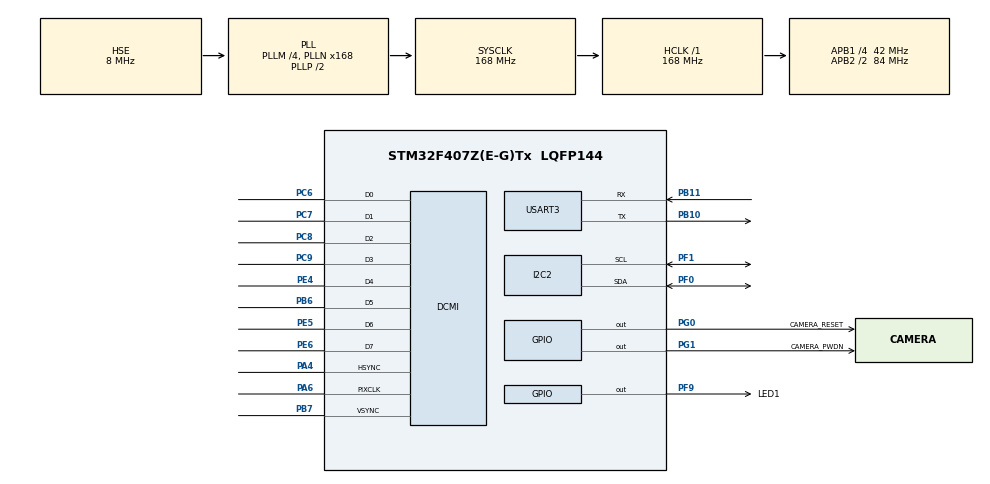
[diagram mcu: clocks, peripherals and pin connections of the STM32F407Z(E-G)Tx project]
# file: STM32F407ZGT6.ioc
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DCMI.JPEGMode=DCMI_JPEG_ENABLE
DCMI.PCKPolarity=DCMI_PCKPOLARITY_RISING
Dma.DCMI.0.Direction=DMA_PERIPH_TO_MEMORY
Dma.DCMI.0.FIFOMode=DMA_FIFOMODE_ENABLE
Dma.DCMI.0.FIFOThreshold=DMA_FIFO_THRESHOLD_FULL
Dma.DCMI.0.Instance=DMA2_Stream1
Dma.DCMI.0.MemBurst=DMA_MBURST_SINGLE
Dma.DCMI.0.MemDataAlignment=DMA_MDATAALIGN_BYTE
Dma.DCMI.0.MemInc=DMA_MINC_ENABLE
Dma.DCMI.0.Mode=DMA_CIRCULAR
Dma.DCMI.0.PeriphBurst=DMA_PBURST_SINGLE
Dma.DCMI.0.PeriphDataAlignment=DMA_PDATAALIGN_WORD
Dma.DCMI.0.PeriphInc=DMA_PINC_DISABLE
Dma.DCMI.0.Priority=DMA_PRIORITY_VERY_HIGH
Dma.Request0=DCMI
Dma.Request1=USART3_TX
Dma.USART3_TX.1.Direction=DMA_MEMORY_TO_PERIPH
Dma.USART3_TX.1.FIFOMode=DMA_FIFOMODE_ENABLE
Dma.USART3_TX.1.FIFOThreshold=DMA_FIFO_THRESHOLD_FULL
Dma.USART3_TX.1.Instance=DMA1_Stream3
Dma.USART3_TX.1.MemBurst=DMA_MBURST_SINGLE
Dma.USART3_TX.1.MemDataAlignment=DMA_MDATAALIGN_BYTE
Dma.USART3_TX.1.MemInc=DMA_MINC_ENABLE
Dma.USART3_TX.1.Mode=DMA_NORMAL
Dma.USART3_TX.1.PeriphBurst=DMA_PBURST_SINGLE
Dma.USART3_TX.1.PeriphDataAlignment=DMA_PDATAALIGN_BYTE
Dma.USART3_TX.1.PeriphInc=DMA_PINC_DISABLE
Dma.USART3_TX.1.Priority=DMA_PRIORITY_VERY_HIGH
Mcu.Family=STM32F4
Mcu.Name=STM32F407Z(E-G)Tx
Mcu.Package=LQFP144
NVIC.DCMI_IRQn=true\:0\:0\:false\:false\:true\:true\:true
NVIC.DMA1_Stream3_IRQn=true\:0\:0\:false\:false\:true\:false\:true
NVIC.DMA2_Stream1_IRQn=true\:0\:0\:false\:false\:true\:false\:true
NVIC.PriorityGroup=NVIC_PRIORITYGROUP_4
NVIC.USART3_IRQn=true\:0\:0\:false\:false\:true\:true\:true
PA13.Mode=Serial_Wire
PA13.Signal=SYS_JTMS-SWDIO
PA14.Mode=Serial_Wire
PA14.Signal=SYS_JTCK-SWCLK
PA4.GPIO_Speed=GPIO_SPEED_FREQ_VERY_HIGH
PA4.Mode=Slave_8_bits_External_Synchro
PA4.Signal=DCMI_HSYNC
PA6.GPIO_Speed=GPIO_SPEED_FREQ_VERY_HIGH
PA6.Mode=Slave_8_bits_External_Synchro
PA6.Signal=DCMI_PIXCLK
PB10.Mode=Asynchronous
PB10.Signal=USART3_TX
PB11.Mode=Asynchronous
PB11.Signal=USART3_RX
PB6.GPIO_Speed=GPIO_SPEED_FREQ_VERY_HIGH
PB6.Mode=Slave_8_bits_External_Synchro
PB6.Signal=DCMI_D5
PB7.GPIO_Speed=GPIO_SPEED_FREQ_VERY_HIGH
PB7.Mode=Slave_8_bits_External_Synchro
PB7.Signal=DCMI_VSYNC
PC14-OSC32_IN.Mode=LSE-External-Oscillator
PC14-OSC32_IN.Signal=RCC_OSC32_IN
PC15-OSC32_OUT.Mode=LSE-External-Oscillator
PC15-OSC32_OUT.Signal=RCC_OSC32_OUT
PC6.GPIO_Speed=GPIO_SPEED_FREQ_VERY_HIGH
PC6.Mode=Slave_8_bits_External_Synchro
PC6.Signal=DCMI_D0
PC7.GPIO_Speed=GPIO_SPEED_FREQ_VERY_HIGH
PC7.Mode=Slave_8_bits_External_Synchro
PC7.Signal=DCMI_D1
PC8.GPIO_Speed=GPIO_SPEED_FREQ_VERY_HIGH
PC8.Mode=Slave_8_bits_External_Synchro
PC8.Signal=DCMI_D2
PC9.GPIO_Speed=GPIO_SPEED_FREQ_VERY_HIGH
PC9.Mode=Slave_8_bits_External_Synchro
PC9.Signal=DCMI_D3
PE4.GPIO_Speed=GPIO_SPEED_FREQ_VERY_HIGH
PE4.Mode=Slave_8_bits_External_Synchro
PE4.Signal=DCMI_D4
PE5.GPIO_Speed=GPIO_SPEED_FREQ_VERY_HIGH
PE5.Mode=Slave_8_bits_External_Synchro
PE5.Signal=DCMI_D6
PE6.GPIO_Speed=GPIO_SPEED_FREQ_VERY_HIGH
PE6.Mode=Slave_8_bits_External_Synchro
PE6.Signal=DCMI_D7
PF0.GPIO_Pu=GPIO_PULLUP
PF0.Mode=I2C
PF0.Signal=I2C2_SDA
PF1.GPIO_Pu=GPIO_PULLUP
PF1.Mode=I2C
PF1.Signal=I2C2_SCL
PF9.GPIO_Label=LED1
PF9.Signal=GPIO_Output
PG0.GPIO_Label=CAMERA_RESET
PG0.Signal=GPIO_Output
PG1.GPIO_Label=CAMERA_PWDN
PG1.Signal=GPIO_Output
PH0-OSC_IN.Mode=HSE-External-Oscillator
PH0-OSC_IN.Signal=RCC_OSC_IN
PH1-OSC_OUT.Mode=HSE-External-Oscillator
PH1-OSC_OUT.Signal=RCC_OSC_OUT
ProjectManager.HeapSize=0x1000
ProjectManager.StackSize=0x1000
ProjectManager.TargetToolchain=MDK-ARM V5.32
RCC.48MHZClocksFreq_Value=112000000
RCC.AHBFreq_Value=168000000
RCC.APB1CLKDivider=RCC_HCLK_DIV4
RCC.APB1Freq_Value=42000000
RCC.APB1TimFreq_Value=84000000
RCC.APB2CLKDivider=RCC_HCLK_DIV2
RCC.APB2Freq_Value=84000000
RCC.APB2TimFreq_Value=168000000
RCC.CortexFreq_Value=168000000
RCC.HCLKFreq_Value=168000000
RCC.HSE_VALUE=8000000
RCC.HSI_VALUE=16000000
RCC.PLLM=4
RCC.PLLN=168
RCC.PLLQ=3
RCC.PLLSourceVirtual=RCC_PLLSOURCE_HSE
RCC.RCC_RTC_Clock_Source=RCC_RTCCLKSOURCE_LSE
RCC.RCC_RTC_Clock_SourceVirtual=RCC_RTCCLKSOURCE_LSE
RCC.SYSCLKFreq_VALUE=168000000
RCC.SYSCLKSource=RCC_SYSCLKSOURCE_PLLCLK
RCC.VCOOutputFreq_Value=336000000
TIM7.Period=10000
TIM7.Prescaler=83
USART3.VirtualMode=VM_ASYNC
VP_TIM7_VS_ClockSourceINT.Mode=Enable_Timer
board=custom

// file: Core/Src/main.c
/* USER CODE BEGIN Header */
/**
 ******************************************************************************
 * @file           : main.c
 * @brief          : Main program body
 ******************************************************************************
 * @attention
 *
 * Copyright (c) 2021 STMicroelectronics.
 * All rights reserved.
 *
 * This software is licensed under terms that can be found in the LICENSE file
 * in the root directory of this software component.
 * If no LICENSE file comes with this software, it is provided AS-IS.
 *
 ******************************************************************************
 */
/* USER CODE END Header */
#include "main.h"
#include "dcmi.h"
#include "dma.h"
#include "i2c.h"
#include "tim.h"
#include "usart.h"
#include "gpio.h"

/* USER CODE BEGIN Includes */
#include "ov2640.h"
#include <stdio.h>
#include <stdarg.h>
#include <string.h>

/* USER CODE END Includes */

/* USER CODE BEGIN PD */
#define DEBUG

/* USER CODE END PD */

/* USER CODE BEGIN PV */

#define RES160X120
// #define RES320X240
// #define RES640X480
// #define RES800x600
// #define RES1024x768
// #define RES1280x960
#ifdef RES320X240
enum imageResolution imgRes = RES_320X240;
uint8_t frameBuffer[RES_320X240] = {0};
#endif

#ifdef RES160X120
enum imageResolution imgRes = RES_160X120;
uint8_t frameBuffer[RES_160X120] = {0};
#endif

uint8_t mutex = 0;
uint16_t bufferPointer = 0;
uint8_t headerFound = 0;

uint8_t Tbuffer1[2] = {0xff, 0x01};
uint8_t Tbuffer2[2] = {0x12, 0x80};
uint8_t Tbuffer3[1] = {0x1c};
uint8_t RBuffer[1] = {0};

/* USER CODE END PV */

void SystemClock_Config(void);

int main(void)
{

  /* MCU Configuration--------------------------------------------------------*/

  /* Reset of all peripherals, Initializes the Flash interface and the Systick. */
  HAL_Init();

  /* Configure the system clock */
  SystemClock_Config();

  /* Initialize all configured peripherals */
  MX_GPIO_Init();
  MX_DMA_Init();
  MX_DCMI_Init();
  MX_USART3_UART_Init();
  MX_I2C2_Init();
  MX_TIM7_Init();
  /* USER CODE BEGIN 2 */

  // 等待�???�???
  uint8_t a[1];
  printf("Input a.\r\n");
  scanf("%c", a);
  if (a[0] == 'a')
    printf("Hello World!\r\n");

  // HAL_GPIO_WritePin(CAMERA_PWDN_GPIO_Port, CAMERA_PWDN_Pin, GPIO_PIN_RESET);
  // HAL_Delay(10);
  // HAL_GPIO_WritePin(CAMERA_RESET_GPIO_Port, CAMERA_RESET_Pin, GPIO_PIN_RESET);
  // HAL_Delay(10);
  // HAL_GPIO_WritePin(CAMERA_RESET_GPIO_Port, CAMERA_RESET_Pin, GPIO_PIN_SET);
  // HAL_Delay(10);

  // HAL_I2C_Master_Transmit(&hi2c2, 0xc0, Tbuffer1, 2, 100);
  // //SCCB_Write(0xff, 0x01);
  // HAL_Delay(10);

  // HAL_I2C_Master_Transmit(&hi2c2, 0xc0, Tbuffer2, 2, 100);
  // HAL_Delay(10);

  // OV2640_ResolutionOptions(imgRes);

  OV2640_Init(&hi2c2, &hdcmi);
  HAL_Delay(10);
  OV2640_ResolutionOptions(imgRes);
  HAL_Delay(10);

  HAL_I2C_Mem_Read(&hi2c2, 0x60, 0x0A, 1, RBuffer, 1, 100);
  printf("%x\r\n", RBuffer[0]);

  //  // 等待下一环节
  //	a[0] = 0;
  //  printf("Input b.\r\n");
  //  scanf("%c", a);
  //  if (a[0] == 'b')
  // OV2640_Init(&hi2c2, &hdcmi);
  // HAL_Delay(10);
  // OV2640_ResolutionOptions(imgRes);
  // HAL_Delay(10);
  mutex = 1;
  /* USER CODE END 2 */

  /* Infinite loop */
  while (1)
  {

    /* USER CODE BEGIN 3 */
    if (mutex == 1)
    {
      __HAL_DCMI_ENABLE_IT(&hdcmi, DCMI_IT_FRAME);
      memset(frameBuffer, 0, sizeof frameBuffer);
      OV2640_CaptureSnapshot((uint32_t)frameBuffer, imgRes);

      while (1)
      {
        if (headerFound == 0 && frameBuffer[bufferPointer] == 0xFF && frameBuffer[bufferPointer + 1] == 0xD8)
        {
          headerFound = 1;
#ifdef DEBUG
          printf("Found header of JPEG file \r\n");
#endif
        }
        if (headerFound == 1 && frameBuffer[bufferPointer] == 0xFF && frameBuffer[bufferPointer + 1] == 0xD9)
        {
          bufferPointer = bufferPointer + 2;
#ifdef DEBUG
          printf("Found EOF of JPEG file \r\n");
#endif
          headerFound = 0;
          break;
        }

        if (bufferPointer >= 65535)
        {
          //break;
					bufferPointer = 0;
					printf("Flag");
        }
        bufferPointer++;
      }
#ifdef DEBUG
      printf("Image size: %d bytes \r\n", bufferPointer);
#endif

      HAL_UART_Transmit_DMA(&huart3, frameBuffer, bufferPointer); // Use of DMA may be necessary for larger data streams.
      bufferPointer = 0;
      mutex = 0;
    }
    else
    {
      mutex = 1;
    }
    while (1)
    {
      /* code */
    }
  }
  /* USER CODE END 3 */
}

void SystemClock_Config(void)
{
  RCC_OscInitTypeDef RCC_OscInitStruct = {0};
  RCC_ClkInitTypeDef RCC_ClkInitStruct = {0};

  /** Configure the main internal regulator output voltage
   */
  __HAL_RCC_PWR_CLK_ENABLE();
  __HAL_PWR_VOLTAGESCALING_CONFIG(PWR_REGULATOR_VOLTAGE_SCALE1);
  /** Initializes the RCC Oscillators according to the specified parameters
   * in the RCC_OscInitTypeDef structure.
   */
  RCC_OscInitStruct.OscillatorType = RCC_OSCILLATORTYPE_HSE;
  RCC_OscInitStruct.HSEState = RCC_HSE_ON;
  RCC_OscInitStruct.PLL.PLLState = RCC_PLL_ON;
  RCC_OscInitStruct.PLL.PLLSource = RCC_PLLSOURCE_HSE;
  RCC_OscInitStruct.PLL.PLLM = 4;
  RCC_OscInitStruct.PLL.PLLN = 168;
  RCC_OscInitStruct.PLL.PLLP = RCC_PLLP_DIV2;
  RCC_OscInitStruct.PLL.PLLQ = 3;
  if (HAL_RCC_OscConfig(&RCC_OscInitStruct) != HAL_OK)
  {
    Error_Handler();
  }
  /** Initializes the CPU, AHB and APB buses clocks
   */
  RCC_ClkInitStruct.ClockType = RCC_CLOCKTYPE_HCLK | RCC_CLOCKTYPE_SYSCLK | RCC_CLOCKTYPE_PCLK1 | RCC_CLOCKTYPE_PCLK2;
  RCC_ClkInitStruct.SYSCLKSource = RCC_SYSCLKSOURCE_PLLCLK;
  RCC_ClkInitStruct.AHBCLKDivider = RCC_SYSCLK_DIV1;
  RCC_ClkInitStruct.APB1CLKDivider = RCC_HCLK_DIV4;
  RCC_ClkInitStruct.APB2CLKDivider = RCC_HCLK_DIV2;

  if (HAL_RCC_ClockConfig(&RCC_ClkInitStruct, FLASH_LATENCY_5) != HAL_OK)
  {
    Error_Handler();
  }
}

/* USER CODE BEGIN 4 */
int fputc(int ch, FILE *f)
{
  HAL_UART_Transmit(&huart3, (uint8_t *)&ch, 1, 0xffff);
  return ch;
}

int fgetc(FILE *f)
{
  uint8_t ch = 0;
  HAL_UART_Receive(&huart3, &ch, 1, 0xffff);
  return ch;
}

void HAL_Delay_US(uint32_t Delay_us)
{
  __HAL_TIM_SetCounter(&htim7, 0);
  __HAL_TIM_ENABLE(&htim7);
  while (__HAL_TIM_GetCounter(&htim7) < Delay_us)
    ;
  __HAL_TIM_DISABLE(&htim7);
}

/* USER CODE END 4 */

void Error_Handler(void)
{
  __disable_irq();
  while (1)
  {
  }
}
